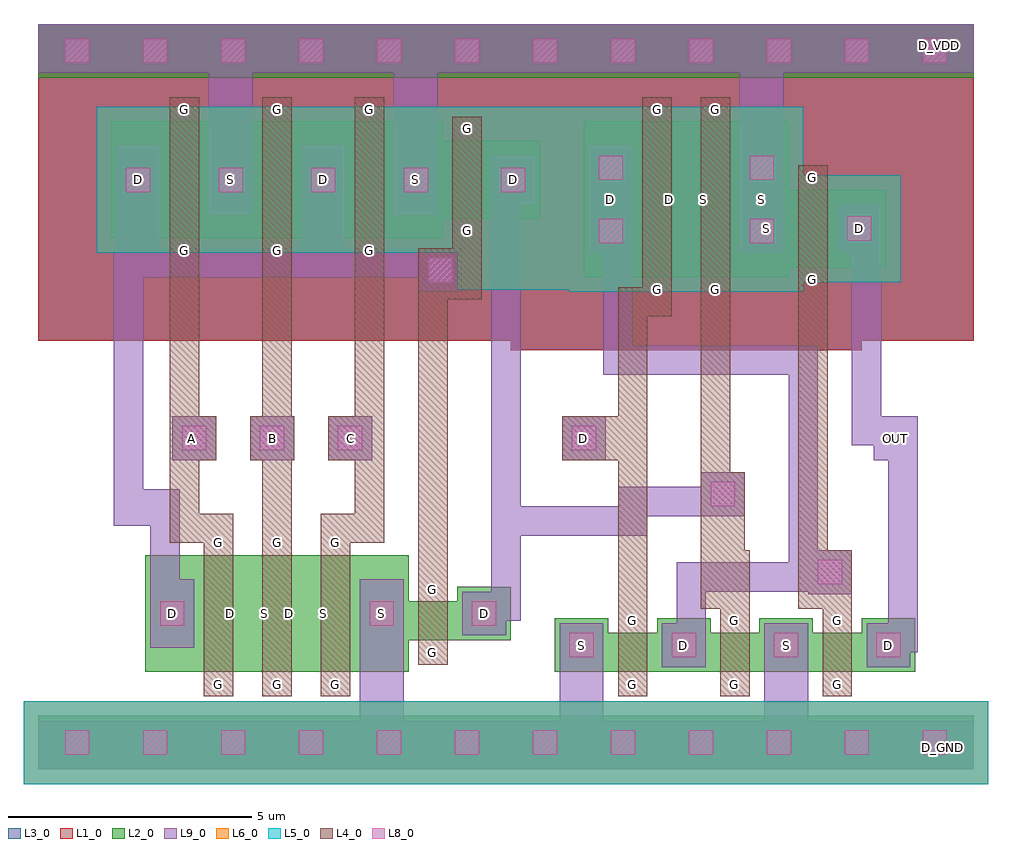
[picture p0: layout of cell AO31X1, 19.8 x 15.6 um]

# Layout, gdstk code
import gdstk
lib = gdstk.Library(unit=1e-6, precision=1e-09)
def R(c, l, rs):  # rectangles x0, y0, x1, y1
    for r in rs: c.add(gdstk.rectangle(r[:2], r[2:], *l))
def A(c, l, x, y, w, h, nx, ny, dx, dy):  # array of equal rectangles
    R(c, l, [(x+i*dx, y+j*dy, x+i*dx+w, y+j*dy+h) for i in range(nx) for j in range(ny)])
def P(c, l, *ps):  # polygons
    for p in ps: c.add(gdstk.Polygon(p, *l))
L1_0 = (1, 0)
L2_0 = (2, 0)
L3_0 = (3, 0)
L4_0 = (4, 0)
L5_0 = (5, 0)
L6_0 = (6, 0)
L8_0 = (8, 0)
L9_0 = (9, 0)

ao31x1 = lib.new_cell('AO31X1')
A(ao31x1, L1_0, 0, 8.8, 1.6, 6.5, 12, 1, 1.6, 0)
A(ao31x1, L1_0, 0, 9.4, 6, 5.4, 3, 1, 1.9, 0)
R(ao31x1, L1_0, [(9.7,8.6,15.7,14.8), (10.9,8.6,16.9,14.8), (12.9,8.8,18.9,13.4), (5.8,9.8,11.8,14.4)])
A(ao31x1, L2_0, 0, 0, 1.6, 1.1, 12, 2, 1.6, 14.2)
A(ao31x1, L2_0, 3.3, 2, 0.8, 2.4, 3, 1, 1.2, 0)
A(ao31x1, L2_0, 11.7, 2, 1, 0.8, 3, 1, 2.1, 0)
A(ao31x1, L2_0, 2.6, 10.9, 0.8, 2.4, 3, 1, 1.9, 0)
R(ao31x1, L2_0, [(2.2,2,3.3,4.4), (3.4,2,4.5,4.4), (4.1,2,5.2,4.4), (4.6,2,5.7,4.4), (5.3,2,6.4,4.4), (6.5,2,7.6,4.4), (10.6,2,11.7,3.1), (12.7,2,13.8,3.1), (12.7,2,13.8,3.1), (14.8,2,15.9,3.1), (14.8,2,15.9,3.1), (16.9,2,18,3.1), (6.5,2.65,7.6,3.75), (7.6,2.65,8.6,3.45), (8.6,2.65,9.7,3.75), (11.2,10.1,12.3,13.3), (12.3,10.1,13.1,13.3), (12.4,10.1,13.5,13.3), (13.1,10.1,14.2,13.3), (13.5,10.1,14.3,13.3), (14.3,10.1,15.4,13.3), (14.4,10.3,15.5,11.9), (15.5,10.3,16.3,11.9), (16.3,10.3,17.4,11.9), (14.2,10.35,15.4,12.9), (1.5,10.9,2.6,13.3), (3.4,10.9,4.5,13.3), (3.4,10.9,4.5,13.3), (5.3,10.9,6.4,13.3), (5.3,10.9,6.4,13.3), (7.2,10.9,8.3,13.3), (7.3,11.3,8.4,12.9), (8.4,11.3,9.2,12.9), (9.2,11.3,10.3,12.9), (7.4,11.6,8.1,12.45)])
A(ao31x1, L3_0, 0, 8.8, 1.6, 6.5, 12, 1, 1.6, 0)
A(ao31x1, L3_0, 0, 9.4, 6, 5.4, 3, 1, 1.9, 0)
R(ao31x1, L3_0, [(9.7,8.6,15.7,14.8), (10.9,8.6,16.9,14.8), (12.9,8.8,18.9,13.4), (5.8,9.8,11.8,14.4)])
A(ao31x1, L4_0, 3.4, 1.5, 0.6, 3.4, 3, 1, 1.2, 0)
A(ao31x1, L4_0, 3.4, 1.5, 0.6, 0.5, 3, 2, 1.2, 2.9)
A(ao31x1, L4_0, 11.9, 1.5, 0.6, 0.5, 3, 2, 2.1, 1.3)
A(ao31x1, L4_0, 11.9, 1.5, 0.6, 1.8, 3, 1, 2.1, 0)
A(ao31x1, L4_0, 2.75, 6.35, 0.9, 0.9, 3, 1, 1.6, 0)
A(ao31x1, L4_0, 2.7, 10.4, 0.6, 3.4, 3, 1, 1.9, 0)
A(ao31x1, L4_0, 2.7, 10.4, 0.6, 0.5, 3, 2, 1.9, 2.9)
R(ao31x1, L4_0, [(7.8,2.15,8.4,2.65), (7.8,2.15,8.4,3.95), (7.8,3.45,8.4,3.95), (15.8,3.6,16.7,4.5), (7.8,3.65,8.4,5.35), (14.2,4.5,14.5,5.2), (4.6,4.9,5.2,9.3), (13.6,5.2,14.5,6.1), (10.75,6.35,11.65,7.25), (11.65,6.35,11.9,7.25), (13.6,7.95,14.2,9.95), (15.6,8.15,16.2,9.9), (6.5,8.65,7.1,10.95), (2.7,8.7,3.3,11.2), (4.6,8.7,5.2,11), (12.4,9.6,13,10.1), (12.4,9.6,13,13.8), (13.6,9.6,14.2,10.1), (13.6,9.6,14.2,13.8), (7.8,9.8,8.7,10.7), (15.6,9.8,16.2,10.3), (15.6,9.8,16.2,12.4), (8.5,10.7,9.1,10.8), (8.5,10.8,9.1,11.3), (8.5,10.8,9.1,13.4), (15.6,11.9,16.2,12.4), (8.5,12.9,9.1,13.4), (12.4,13.3,13,13.8), (13.6,13.3,14.2,13.8)])
P(ao31x1, L4_0, [(11.9,3),(12.5,3),(12.5,9.3),(13,9.3),(13,9.9),(11.9,9.9)],
  [(15.6,3.3),(16.7,3.3),(16.7,3.9),(16.2,3.9),(16.2,8.7),(15.6,8.7)],
  [(5.8,4.65),(7.1,4.65),(7.1,9.3),(6.5,9.3),(6.5,5.25),(5.8,5.25)],
  [(13.6,3.3),(14.6,3.3),(14.6,4.5),(14.2,4.5),(14.2,8.55),(13.6,8.55)],
  [(2.7,4.65),(4,4.65),(4,5.25),(3.3,5.25),(3.3,9.3),(2.7,9.3)],
  [(7.8,4.95),(8.4,4.95),(8.4,9.65),(9.1,9.65),(9.1,10.7),(7.8,10.7)])
A(ao31x1, L5_0, 1.6, -0.3, 1.6, 1.7, 10, 1, 1.6, 0)
A(ao31x1, L5_0, 1.2, 10.6, 3.6, 3, 3, 1, 1.9, 0)
R(ao31x1, L5_0, [(-0.3,-0.3,1.6,1.4), (17.6,-0.3,19.5,1.4), (10.9,9.8,14.5,13.6), (12.1,9.8,15.7,13.6), (8.6,9.85,10.9,13.6), (14.1,10,17.7,12.2), (7,11,10.6,13.2)])
A(ao31x1, L6_0, 1.6, -0.3, 1.6, 1.7, 10, 1, 1.6, 0)
A(ao31x1, L6_0, 1.2, 10.6, 3.6, 3, 3, 1, 1.9, 0)
R(ao31x1, L6_0, [(-0.3,-0.3,1.6,1.4), (17.6,-0.3,19.5,1.4), (10.9,9.8,14.5,13.6), (12.1,9.8,15.7,13.6), (8.6,9.85,10.9,13.6), (14.1,10,17.7,12.2), (7,11,10.6,13.2)])
A(ao31x1, L8_0, 0.55, 0.3, 0.5, 0.5, 12, 2, 1.6, 14.2)
A(ao31x1, L8_0, 2.95, 6.55, 0.5, 0.5, 3, 1, 1.6, 0)
R(ao31x1, L8_0, [(10.9,2.3,11.4,2.8), (13,2.3,13.5,2.8), (13,2.3,13.5,2.8), (15.1,2.3,15.6,2.8), (15.1,2.3,15.6,2.8), (17.2,2.3,17.7,2.8), (2.5,2.95,3,3.45), (6.8,2.95,7.3,3.45), (6.8,2.95,7.3,3.45), (8.9,2.95,9.4,3.45), (16,3.8,16.5,4.3), (13.8,5.4,14.3,5.9), (10.95,6.55,11.45,7.05), (8,10,8.5,10.5), (11.5,10.8,12,11.3), (14.6,10.8,15.1,11.3), (16.6,10.85,17.1,11.35), (1.8,11.85,2.3,12.35), (3.7,11.85,4.2,12.35), (3.7,11.85,4.2,12.35), (5.6,11.85,6.1,12.35), (5.6,11.85,6.1,12.35), (7.5,11.85,8,12.35), (9.5,11.85,10,12.35), (11.5,12.1,12,12.6), (14.6,12.1,15.1,12.6)])
A(ao31x1, L9_0, 0, 0, 1.6, 1, 12, 2, 1.6, 14.3)
R(ao31x1, L9_0, [(18.1,0,19,0.9), (6.6,0.1,7.5,3.4), (10.7,0.1,11.6,3), (14.9,0.1,15.8,3), (10.7,2.1,11.6,3), (12.8,2.1,13.7,3), (12.8,2.1,13.7,3), (14.9,2.1,15.8,3), (14.9,2.1,15.8,3), (17,2.1,17.9,3), (2.3,2.5,3.2,3.9), (6.6,2.5,7.5,3.9), (6.6,2.75,7.5,3.65), (8.7,2.75,9.6,3.65), (15.8,3.6,16.7,4.5), (13.6,5.2,14.5,6.1), (2.75,6.35,3.65,7.25), (2.75,6.35,3.65,7.25), (4.35,6.35,5.25,7.25), (4.35,6.35,5.25,7.25), (5.95,6.35,6.85,7.25), (5.95,6.35,6.85,7.25), (10.75,6.35,11.65,7.25), (10.75,6.35,11.65,7.25), (17.15,6.35,18.05,7.25), (7.8,9.8,8.7,10.7), (1.6,10.1,2.2,12), (11.3,10.6,12.2,12.8), (14.4,10.6,15.3,12.8), (16.4,10.6,17.3,11.6), (5.4,10.65,6.3,11.4), (2.2,10.7,2.5,11.4), (1.6,11.4,2.5,12.8), (3.5,11.4,4.4,12.8), (3.5,11.4,4.4,12.8), (5.4,11.4,6.3,12.8), (5.4,11.4,6.3,12.8), (7.3,11.4,8.2,12.8), (9.3,11.6,10.2,12.6), (3.5,11.9,4.4,15.2), (7.3,11.9,8.2,15.2), (14.4,11.9,15.3,15.2), (18.05,14.4,18.95,15.3)])
P(ao31x1, L9_0, [(9.3,4.8),(12.5,4.8),(12.5,5.2),(14.2,5.2),(14.2,5.8),(11.9,5.8),(11.9,5.4),(9.3,5.4)],
  [(13.1,2.4),(13.7,2.4),(13.7,3.65),(16.4,3.65),(16.4,4.25),(13.1,4.25)],
  [(9,3.05),(9.9,3.05),(9.9,12.2),(9.3,12.2),(9.3,3.65),(9,3.65)],
  [(1.55,5),(2.3,5),(2.3,3.3),(2.9,3.3),(2.9,5.75),(2.15,5.75),(2.15,10.1),(8.4,10.1),(8.4,10.7),(1.55,10.7)],
  [(11.6,8.1),(15.4,8.1),(15.4,3.9),(16.4,3.9),(16.4,4.5),(16,4.5),(16,8.7),(12.2,8.7),(12.2,11.2),(11.6,11.2)],
  [(16.7,6.65),(17.75,6.65),(17.75,7.25),(17.3,7.25),(17.3,11.2),(16.7,11.2)],
  [(17.3,2.4),(18.05,2.4),(18.05,6.95),(17.45,6.95),(17.45,3),(17.3,3)])
ao31x1.add(gdstk.Label('G', (4.9,10.652), layer=4, texttype=0))
ao31x1.add(gdstk.Label('G', (4.9,13.552), layer=4, texttype=0))
ao31x1.add(gdstk.Label('S', (3.949,12.101), layer=9, texttype=0))
ao31x1.add(gdstk.Label('D', (5.849,12.101), layer=9, texttype=0))
ao31x1.add(gdstk.Label('G', (6.8,10.652), layer=4, texttype=0))
ao31x1.add(gdstk.Label('G', (6.8,13.552), layer=4, texttype=0))
ao31x1.add(gdstk.Label('S', (7.751,12.101), layer=9, texttype=0))
ao31x1.add(gdstk.Label('D', (5.851,12.101), layer=9, texttype=0))
ao31x1.add(gdstk.Label('G', (13.9,9.852), layer=4, texttype=0))
ao31x1.add(gdstk.Label('G', (13.9,13.552), layer=4, texttype=0))
ao31x1.add(gdstk.Label('S', (14.851,11.701), layer=9, texttype=0))
ao31x1.add(gdstk.Label('D', (12.951,11.701), layer=2, texttype=0))
ao31x1.add(gdstk.Label('D', (5.151,3.201), layer=2, texttype=0))
ao31x1.add(gdstk.Label('G', (6.1,1.752), layer=4, texttype=0))
ao31x1.add(gdstk.Label('G', (6.1,4.652), layer=4, texttype=0))
ao31x1.add(gdstk.Label('S', (7.051,3.201), layer=9, texttype=0))
ao31x1.add(gdstk.Label('G', (15.9,10.052), layer=4, texttype=0))
ao31x1.add(gdstk.Label('G', (15.9,12.152), layer=4, texttype=0))
ao31x1.add(gdstk.Label('S', (14.949,11.101), layer=2, texttype=0))
ao31x1.add(gdstk.Label('D', (16.849,11.101), layer=9, texttype=0))
ao31x1.add(gdstk.Label('G', (3.7,1.752), layer=4, texttype=0))
ao31x1.add(gdstk.Label('G', (3.7,4.652), layer=4, texttype=0))
ao31x1.add(gdstk.Label('S', (4.651,3.201), layer=2, texttype=0))
ao31x1.add(gdstk.Label('D', (2.751,3.201), layer=9, texttype=0))
ao31x1.add(gdstk.Label('G', (8.1,2.402), layer=4, texttype=0))
ao31x1.add(gdstk.Label('G', (8.1,3.702), layer=4, texttype=0))
ao31x1.add(gdstk.Label('S', (7.049,3.201), layer=9, texttype=0))
ao31x1.add(gdstk.Label('D', (9.149,3.201), layer=9, texttype=0))
ao31x1.add(gdstk.Label('G', (16.4,1.752), layer=4, texttype=0))
ao31x1.add(gdstk.Label('G', (16.4,3.052), layer=4, texttype=0))
ao31x1.add(gdstk.Label('S', (15.349,2.551), layer=9, texttype=0))
ao31x1.add(gdstk.Label('D', (17.449,2.551), layer=9, texttype=0))
ao31x1.add(gdstk.Label('D', (3.951,3.201), layer=2, texttype=0))
ao31x1.add(gdstk.Label('G', (4.9,1.752), layer=4, texttype=0))
ao31x1.add(gdstk.Label('G', (4.9,4.652), layer=4, texttype=0))
ao31x1.add(gdstk.Label('S', (5.851,3.201), layer=2, texttype=0))
ao31x1.add(gdstk.Label('G', (12.2,1.752), layer=4, texttype=0))
ao31x1.add(gdstk.Label('G', (12.2,3.052), layer=4, texttype=0))
ao31x1.add(gdstk.Label('S', (11.149,2.551), layer=9, texttype=0))
ao31x1.add(gdstk.Label('D', (13.249,2.551), layer=9, texttype=0))
ao31x1.add(gdstk.Label('G', (12.7,9.852), layer=4, texttype=0))
ao31x1.add(gdstk.Label('G', (12.7,13.552), layer=4, texttype=0))
ao31x1.add(gdstk.Label('S', (13.651,11.701), layer=2, texttype=0))
ao31x1.add(gdstk.Label('D', (11.751,11.701), layer=9, texttype=0))
ao31x1.add(gdstk.Label('G', (8.8,11.052), layer=4, texttype=0))
ao31x1.add(gdstk.Label('G', (8.8,13.152), layer=4, texttype=0))
ao31x1.add(gdstk.Label('S', (7.849,12.101), layer=2, texttype=0))
ao31x1.add(gdstk.Label('D', (9.749,12.101), layer=9, texttype=0))
ao31x1.add(gdstk.Label('G', (14.3,1.752), layer=4, texttype=0))
ao31x1.add(gdstk.Label('G', (14.3,3.052), layer=4, texttype=0))
ao31x1.add(gdstk.Label('S', (15.351,2.551), layer=9, texttype=0))
ao31x1.add(gdstk.Label('D', (13.251,2.551), layer=9, texttype=0))
ao31x1.add(gdstk.Label('G', (3,10.652), layer=4, texttype=0))
ao31x1.add(gdstk.Label('G', (3,13.552), layer=4, texttype=0))
ao31x1.add(gdstk.Label('S', (3.951,12.101), layer=9, texttype=0))
ao31x1.add(gdstk.Label('D', (2.051,12.101), layer=9, texttype=0))
ao31x1.add(gdstk.Label('D_VDD', (18.5,14.85), layer=50, texttype=0))
ao31x1.add(gdstk.Label('A', (3.15,6.8), layer=50, texttype=0))
ao31x1.add(gdstk.Label('D', (11.2,6.8), layer=50, texttype=0))
ao31x1.add(gdstk.Label('C', (6.4,6.8), layer=50, texttype=0))
ao31x1.add(gdstk.Label('B', (4.8,6.8), layer=50, texttype=0))
ao31x1.add(gdstk.Label('D_GND', (18.55,0.45), layer=50, texttype=0))
ao31x1.add(gdstk.Label('OUT', (17.6,6.8), layer=50, texttype=0))

lib.write_gds('AO31X1.gds')
